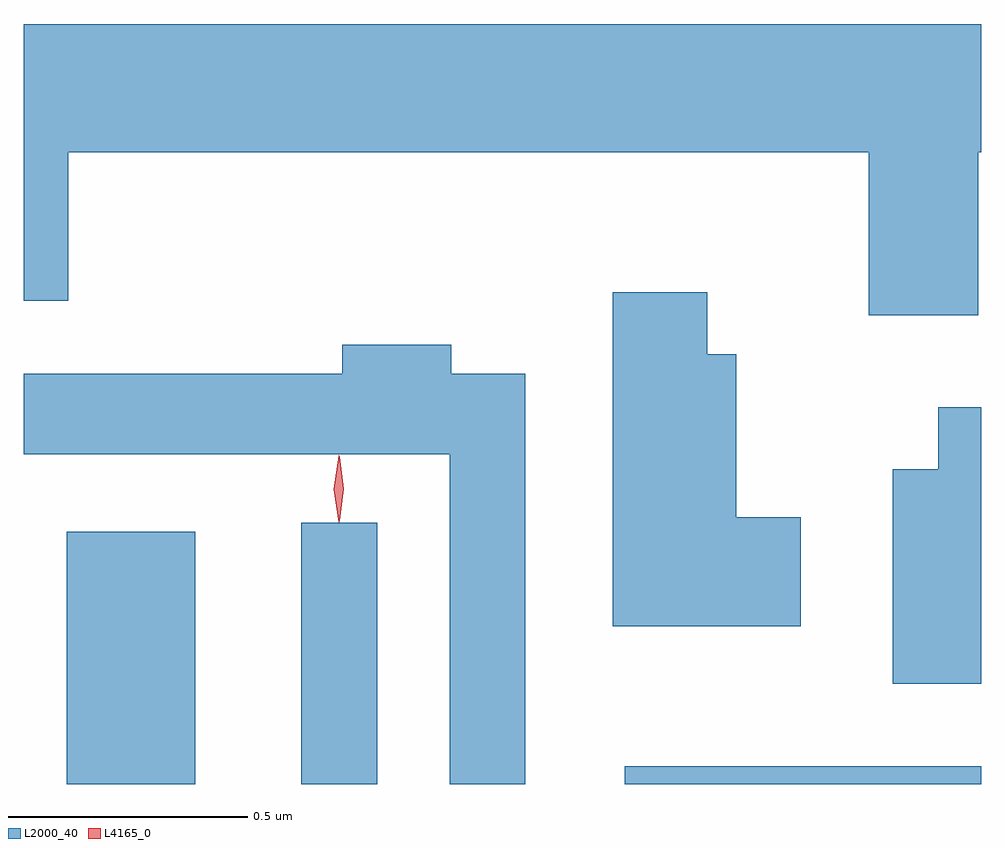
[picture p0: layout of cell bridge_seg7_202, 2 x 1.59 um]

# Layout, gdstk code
import gdstk
lib = gdstk.Library(unit=1e-6, precision=1e-09)
def R(c, l, rs):  # rectangles x0, y0, x1, y1
    for r in rs: c.add(gdstk.rectangle(r[:2], r[2:], *l))
def P(c, l, *ps):  # polygons
    for p in ps: c.add(gdstk.Polygon(p, *l))
L2000_40 = (2000, 40)
L4165_0 = (4165, 0)

bridge_seg7_202 = lib.new_cell('bridge_seg7_202')
R(bridge_seg7_202, L2000_40, [(1501.016,1701.897,1501.284,1702.424), (1501.506,1701.897,1501.664,1702.443), (1502.181,1701.897,1502.926,1701.934)])
P(bridge_seg7_202, L2000_40, [(1502.919,1703.216),(1502.926,1703.216),(1502.926,1703.484),(1500.926,1703.484),(1500.926,1702.906),(1501.019,1702.906),(1501.019,1703.216),(1502.691,1703.216),(1502.691,1702.876),(1502.919,1702.876)],
  [(1502.549,1702.454),(1502.414,1702.454),(1502.414,1702.794),(1502.354,1702.794),(1502.354,1702.924),(1502.156,1702.924),(1502.156,1702.226),(1502.549,1702.226)],
  [(1501.974,1702.754),(1501.819,1702.754),(1501.819,1702.814),(1501.591,1702.814),(1501.591,1702.754),(1500.926,1702.754),(1500.926,1702.586),(1501.816,1702.586),(1501.816,1701.897),(1501.974,1701.897)],
  [(1502.926,1702.684),(1502.836,1702.684),(1502.836,1702.554),(1502.741,1702.554),(1502.741,1702.106),(1502.926,1702.106)])
P(bridge_seg7_202, L4165_0, [(1501.584,1702.444),(1501.584,1702.444),(1501.574,1702.513),(1501.584,1702.582),(1501.584,1702.583),(1501.585,1702.582),(1501.594,1702.513),(1501.585,1702.444)],
  [(1501.585,1702.447),(1501.585,1702.447),(1501.575,1702.514),(1501.585,1702.58),(1501.586,1702.58),(1501.586,1702.58),(1501.595,1702.514),(1501.586,1702.447)])

lib.write_gds('bridge_seg7_202.gds')
